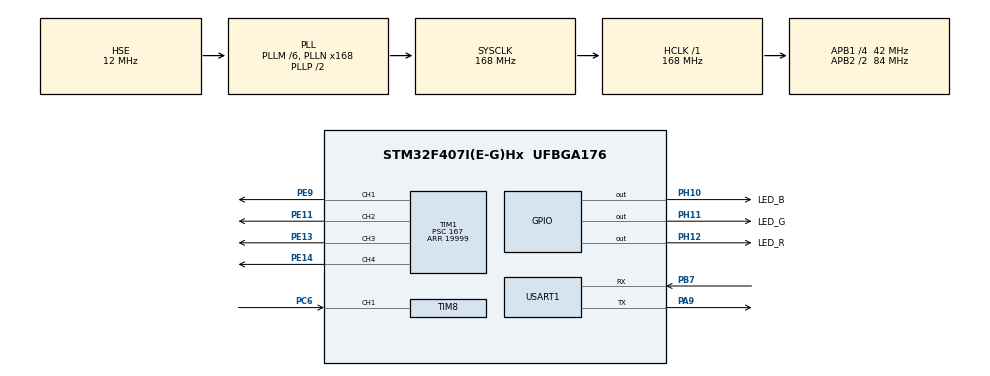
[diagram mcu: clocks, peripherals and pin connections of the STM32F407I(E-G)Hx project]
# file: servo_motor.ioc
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Mcu.Family=STM32F4
Mcu.Name=STM32F407I(E-G)Hx
Mcu.Package=UFBGA176
NVIC.PriorityGroup=NVIC_PRIORITYGROUP_4
NVIC.TIM8_CC_IRQn=true\:0\:0\:false\:false\:true\:true\:true
NVIC.USART1_IRQn=true\:0\:0\:false\:false\:true\:true\:true
PA13.Mode=Serial_Wire
PA13.Signal=SYS_JTMS-SWDIO
PA14.Mode=Serial_Wire
PA14.Signal=SYS_JTCK-SWCLK
PA9.Mode=Asynchronous
PA9.Signal=USART1_TX
PB7.Mode=Asynchronous
PB7.Signal=USART1_RX
PC6.GPIO_PuPd=GPIO_PULLUP
PC6.GPIO_Speed=GPIO_SPEED_FREQ_HIGH
PC6.Signal=S_TIM8_CH1
PE11.GPIO_PuPd=GPIO_PULLUP
PE11.GPIO_Speed=GPIO_SPEED_FREQ_HIGH
PE11.Signal=S_TIM1_CH2
PE13.GPIO_PuPd=GPIO_PULLUP
PE13.GPIO_Speed=GPIO_SPEED_FREQ_HIGH
PE13.Signal=S_TIM1_CH3
PE14.GPIO_PuPd=GPIO_PULLUP
PE14.GPIO_Speed=GPIO_SPEED_FREQ_HIGH
PE14.Signal=S_TIM1_CH4
PE9.GPIO_PuPd=GPIO_PULLUP
PE9.GPIO_Speed=GPIO_SPEED_FREQ_HIGH
PE9.Signal=S_TIM1_CH1
PH0-OSC_IN.Mode=HSE-External-Oscillator
PH0-OSC_IN.Signal=RCC_OSC_IN
PH1-OSC_OUT.Mode=HSE-External-Oscillator
PH1-OSC_OUT.Signal=RCC_OSC_OUT
PH10.GPIO_Label=LED_B
PH10.Signal=GPIO_Output
PH11.GPIO_Label=LED_G
PH11.Signal=GPIO_Output
PH12.GPIO_Label=LED_R
PH12.Signal=GPIO_Output
PI7.GPIO_PuPd=GPIO_PULLUP
PI7.GPIO_Speed=GPIO_SPEED_FREQ_HIGH
PI7.Signal=S_TIM8_CH3
ProjectManager.HeapSize=0x2000
ProjectManager.StackSize=0x2000
ProjectManager.TargetToolchain=MDK-ARM V5
RCC.48MHZClocksFreq_Value=48000000
RCC.AHBFreq_Value=168000000
RCC.APB1CLKDivider=RCC_HCLK_DIV4
RCC.APB1Freq_Value=42000000
RCC.APB1TimFreq_Value=84000000
RCC.APB2CLKDivider=RCC_HCLK_DIV2
RCC.APB2Freq_Value=84000000
RCC.APB2TimFreq_Value=168000000
RCC.CortexFreq_Value=168000000
RCC.HCLKFreq_Value=168000000
RCC.HSE_VALUE=12000000
RCC.HSI_VALUE=16000000
RCC.LSE_VALUE=32768
RCC.PLLM=6
RCC.PLLN=168
RCC.PLLQ=7
RCC.PLLSourceVirtual=RCC_PLLSOURCE_HSE
RCC.RCC_RTC_Clock_SourceVirtual=RCC_RTCCLKSOURCE_HSE_DIV30
RCC.RCC_RTC_Clock_Source_FROM_HSE=RCC_RTCCLKSOURCE_HSE_DIV30
RCC.SYSCLKFreq_VALUE=168000000
RCC.SYSCLKSource=RCC_SYSCLKSOURCE_PLLCLK
RCC.VCOOutputFreq_Value=336000000
SH.S_TIM1_CH1.0=TIM1_CH1,PWM Generation1 CH1
SH.S_TIM1_CH2.0=TIM1_CH2,PWM Generation2 CH2
SH.S_TIM1_CH3.0=TIM1_CH3,PWM Generation3 CH3
SH.S_TIM1_CH4.0=TIM1_CH4,PWM Generation4 CH4
SH.S_TIM8_CH1.0=TIM8_CH1,Input_Capture1_from_TI1
SH.S_TIM8_CH3.0=TIM8_CH3
TIM1.Channel-PWM\ Generation1\ CH1=TIM_CHANNEL_1
TIM1.Channel-PWM\ Generation2\ CH2=TIM_CHANNEL_2
TIM1.Channel-PWM\ Generation3\ CH3=TIM_CHANNEL_3
TIM1.Channel-PWM\ Generation4\ CH4=TIM_CHANNEL_4
TIM1.Period=19999
TIM1.Prescaler=167
TIM1.Pulse-PWM\ Generation1\ CH1=2000
TIM1.Pulse-PWM\ Generation2\ CH2=2000
TIM1.Pulse-PWM\ Generation3\ CH3=2000
TIM1.Pulse-PWM\ Generation4\ CH4=2000
TIM8.Channel-Input_Capture1_from_TI1=TIM_CHANNEL_1
TIM8.Period=19999
TIM8.Prescaler=167
USART1.VirtualMode=VM_ASYNC
VP_TIM1_VS_ClockSourceINT.Mode=Internal
VP_TIM8_VS_ClockSourceINT.Mode=Internal
board=custom

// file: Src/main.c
/* USER CODE BEGIN Header */
/**
  ******************************************************************************
  * @file           : main.c
  * @brief          : Main program body
  ******************************************************************************
  * @attention
  *
  * <h2><center>&copy; Copyright (c) 2019 STMicroelectronics.
  * All rights reserved.</center></h2>
  *
  * This software component is licensed by ST under BSD 3-Clause license,
  * the "License"; You may not use this file except in compliance with the
  * License. You may obtain a copy of the License at:
  *                        opensource.org/licenses/BSD-3-Clause
  *
  ******************************************************************************
  */
/* USER CODE END Header */
#include "main.h"
#include "tim.h"
#include "usart.h"
#include "gpio.h"

/* USER CODE BEGIN PV */
extern unsigned char t8ch1_cap_sta;
extern unsigned int t8ch1_cap_val;
double  e_now;
double	e_pre;
double	I_e;
double	delta_t;
double	delta_e;
double RPM_ref = 1000;  //motor speed
/* USER CODE END PV */

void SystemClock_Config(void);

int main(void)
{
  /* USER CODE BEGIN 1 */
	long long temp=0;
	double RPM_now=0;
	double pwm_out;
	double motor_out= 1500;
	double kp=30;
	double ki=0.1;
	double kd=0.1;
  /* USER CODE END 1 */

  /* MCU Configuration--------------------------------------------------------*/

  /* Reset of all peripherals, Initializes the Flash interface and the Systick. */
  HAL_Init();

  /* Configure the system clock */
  SystemClock_Config();

  /* Initialize all configured peripherals */
  MX_GPIO_Init();
  MX_TIM8_Init();
  MX_TIM1_Init();
  MX_USART1_UART_Init();
  /* USER CODE BEGIN 2 */

    HAL_GPIO_WritePin(LED_R_GPIO_Port, LED_R_Pin, GPIO_PIN_RESET);
    HAL_GPIO_WritePin(LED_G_GPIO_Port, LED_G_Pin, GPIO_PIN_RESET);
    HAL_GPIO_WritePin(LED_B_GPIO_Port, LED_B_Pin, GPIO_PIN_RESET);

    HAL_TIM_Base_Start(&htim1);
    HAL_TIM_PWM_Start(&htim1, TIM_CHANNEL_1);
//    HAL_TIM_PWM_Start(&htim1, TIM_CHANNEL_2);
//    HAL_TIM_PWM_Start(&htim1, TIM_CHANNEL_3);
	HAL_TIM_PWM_Start(&htim1, TIM_CHANNEL_4);
    HAL_TIM_Base_Start(&htim8);
	__HAL_UART_ENABLE_IT(&huart1, UART_IT_RXNE);  //receive interrupt
    __HAL_UART_ENABLE_IT(&huart1, UART_IT_IDLE);  //idle interrupt
//    HAL_TIM_PWM_Start(&htim8, TIM_CHANNEL_1);

  __HAL_TIM_SetCompare(&htim1, TIM_CHANNEL_1, 1500);
  __HAL_TIM_SetCompare(&htim1, TIM_CHANNEL_4, 1500); //set motor and servo to zero mid position

	HAL_Delay(5000);                                 //wait 5s for motor to init

  __HAL_TIM_SetCompare(&htim1, TIM_CHANNEL_1, 1600);// motor test move forward slowly
	HAL_UART_Transmit(&huart1, "100000----\r\n", 12, 100);
	HAL_GPIO_WritePin(LED_G_GPIO_Port, LED_G_Pin, GPIO_PIN_SET);
	HAL_Delay(2000);
	HAL_GPIO_WritePin(LED_G_GPIO_Port, LED_G_Pin, GPIO_PIN_RESET);
	HAL_Delay(2000);
//	HAL_Delay(50000);
  /* USER CODE END 2 */

  /* Infinite loop */
  while (1)
  {

    /* USER CODE BEGIN 3 */
		///test uarst

	/*
		//motor tim1 ch1, servo tim1 ch4
		20ms ARR 20000
		wheel
		left max-----1800 ----1.8ms
		right max ---- 1100  --- 1.2ms

		motor
		1500 zero ----------------------1.5ms
		2000 max ------------------------2ms -- forward
		could be higher
		!!!!!NEVER put motor value SMALLER than 1500!!!!!;
	*/

		if(t8ch1_cap_sta&0X80)        //means finish the whole capture, ready to calculate data
		{
			temp=t8ch1_cap_sta&0X3F; //Note OX3F means from bit0 to 5, not the single bit on bit 5
											// so it refers to how many overflows
			temp*=0XFFFFFFFF;		 	    	//65536 is OXFFFF
			temp+=(t8ch1_cap_val);      //THE time when the falling edge has occured
			HAL_UART_Transmit(&huart1, temp, 12, 100);
		}
			//printf("HIGH:%lld us\r\n",temp);//print to chuangkou via uart
//			//pid part RPM = 60/T
//			RPM_now = 60/(temp*1e-6);  //possible bugs here as temp is long
//			e_pre = e_now; // a possible bug here
//
//			e_now = RPM_ref - RPM_now;  //positive means low speed, so kp is positive
//			I_e += e_now;   //ki positive
//			delta_t = temp*1e-6;   //possible bugs here.
//			delta_e = (e_now - e_pre)/delta_t;   /// watch sign   ---- possible bugs here
//			//if the gradient is increasing

//			pwm_out = kp*e_now + ki*I_e + kd*delta_e;
//			if(pwm_out>1.0)
//			{
//				pwm_out = 1.0;
//			}
//			if(pwm_out<-1.0) pwm_out=-1.0;
//
//			pwm_out =1500+ pwm_out*500; //motor moves forward range: 1500 to 2000  (1.5ms to 2ms)
//			if(pwm_out<1500) pwm_out=1500;
//			if(pwm_out>2000) pwm_out=2000;
//			__HAL_TIM_SetCompare(&htim1, TIM_CHANNEL_1, motor_out);
//
//			t8ch1_cap_sta=0;          //start the next cpature

//		}

//  e_now = 0;
//	e_pre=0;
//	I_e =0;
//	delta_t=0;
//	delta_e=0;
//	while(1)
//    {
//        //delay_ms(10);
//		//TIM_SetTIM3Compare2(TIM_GetTIM3Capture2()+1);
//		//if(TIM_GetTIM3Capture2()==300)TIM_SetTIM3Compare2(0);  ---- just clear
//		//TIm3 is irrelevant here!!!! ignore
//
//        if(TIM5CH1_CAPTURE_STA&0X80)        //means finish the whole capture, ready to calculate data
//		{
//			temp=TIM5CH1_CAPTURE_STA&0X3F; //Note OX3F means from bit0 to 5, not the single bit on bit 5
//											// so it refers to how many overflows
//			temp*=65535;		 	    	//65536 is OXFFFF
//			temp+=(TIM5CH1_CAPTURE_VAL);      //THE time when the falling edge has occured
//
//			printf("HIGH:%lld us\r\n",temp);//print to chuangkou via uart
//
//
//
//			//pid part RPM = 60/T
//			RPM_now = 60/(temp*1e-6);  //possible bugs here as temp is long
//			e_pre = e_now; // a possible bug here
//
//			e_now = RPM_ref - RPM_now;  //positive means low speed, so kp is positive
//			I_e += e_now;   //ki positive
//			delta_t = temp*1e-6;
//			delta_e = (e_now - e_pre)/delta_t;   /// watch sign   ---- possible bugs here
//			//if the gradient is increasing

//			pwm_out = kp*e_now + ki*I_e + kd*delta_e;
//			if(pwm_out>1.0)
//			{
//				pwm_out = 1.0;
//			}
//			if(pwm_out<0.0) pwm_out=0.0;
//			TIM_SetTIM3Compare2(pwm_out);  //generate the pwm wave
//
//			TIM5CH1_CAPTURE_STA=0;          //start the next cpature
//		}
    }

  /* USER CODE END 3 */
}

void SystemClock_Config(void)
{
  RCC_OscInitTypeDef RCC_OscInitStruct = {0};
  RCC_ClkInitTypeDef RCC_ClkInitStruct = {0};

  /** Configure the main internal regulator output voltage
  */
  __HAL_RCC_PWR_CLK_ENABLE();
  __HAL_PWR_VOLTAGESCALING_CONFIG(PWR_REGULATOR_VOLTAGE_SCALE1);
  /** Initializes the RCC Oscillators according to the specified parameters
  * in the RCC_OscInitTypeDef structure.
  */
  RCC_OscInitStruct.OscillatorType = RCC_OSCILLATORTYPE_HSE;
  RCC_OscInitStruct.HSEState = RCC_HSE_ON;
  RCC_OscInitStruct.PLL.PLLState = RCC_PLL_ON;
  RCC_OscInitStruct.PLL.PLLSource = RCC_PLLSOURCE_HSE;
  RCC_OscInitStruct.PLL.PLLM = 6;
  RCC_OscInitStruct.PLL.PLLN = 168;
  RCC_OscInitStruct.PLL.PLLP = RCC_PLLP_DIV2;
  RCC_OscInitStruct.PLL.PLLQ = 7;
  if (HAL_RCC_OscConfig(&RCC_OscInitStruct) != HAL_OK)
  {
    Error_Handler();
  }
  /** Initializes the CPU, AHB and APB buses clocks
  */
  RCC_ClkInitStruct.ClockType = RCC_CLOCKTYPE_HCLK|RCC_CLOCKTYPE_SYSCLK
                              |RCC_CLOCKTYPE_PCLK1|RCC_CLOCKTYPE_PCLK2;
  RCC_ClkInitStruct.SYSCLKSource = RCC_SYSCLKSOURCE_PLLCLK;
  RCC_ClkInitStruct.AHBCLKDivider = RCC_SYSCLK_DIV1;
  RCC_ClkInitStruct.APB1CLKDivider = RCC_HCLK_DIV4;
  RCC_ClkInitStruct.APB2CLKDivider = RCC_HCLK_DIV2;

  if (HAL_RCC_ClockConfig(&RCC_ClkInitStruct, FLASH_LATENCY_5) != HAL_OK)
  {
    Error_Handler();
  }
}

void Error_Handler(void)
{
}

/************************ (C) COPYRIGHT STMicroelectronics *****END OF FILE****/
